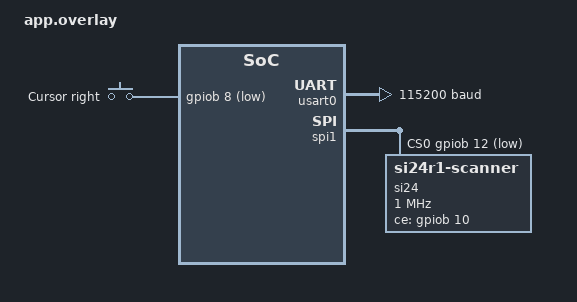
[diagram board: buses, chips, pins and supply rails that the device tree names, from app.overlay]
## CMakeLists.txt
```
cmake_minimum_required(VERSION 3.20.0)

find_package(Zephyr REQUIRED HINTS $ENV{ZEPHYR_BASE})
project(nrf_noise_measure)

target_sources(app PRIVATE src/main.c src/si24r1.c src/spectrum.c
    src/spectrum_display.c src/button_filter.c)
```

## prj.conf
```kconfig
# Hardware UART console (PB6/PB7 remap in app.overlay) and board ST7735 display.
CONFIG_GPIO=y
CONFIG_SPI=y
CONFIG_DISPLAY=y
CONFIG_SERIAL=y
CONFIG_CONSOLE=y
CONFIG_UART_CONSOLE=y
CONFIG_PRINTK=y
CONFIG_LOG=y
CONFIG_LOG_BACKEND_UART=y
CONFIG_LOG_MODE_IMMEDIATE=y
CONFIG_LOG_DEFAULT_LEVEL=3
CONFIG_LOG_BACKEND_SHOW_COLOR=n

# Four LCD rows at a time; no framebuffer or graphics framework required.
CONFIG_MAIN_STACK_SIZE=2048
CONFIG_HEAP_MEM_POOL_SIZE=0
CONFIG_ASSERT=y
CONFIG_SIZE_OPTIMIZATIONS=y
```

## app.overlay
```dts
/* SPDX-License-Identifier: Apache-2.0 */
#include <zephyr/dt-bindings/gpio/gpio.h>

/ {
	aliases {
		scan-button = &cursor_button;
	};
	scanner_buttons {
		compatible = "gpio-keys";
		cursor_button: cursor_button {
			gpios = <&gpiob 8 (GPIO_ACTIVE_LOW | GPIO_PULL_UP)>;
			label = "Cursor right";
		};
	};
};

/* Route the hardware console to side-header pins instead of PA9/PA10. */
&usart0 {
	current-speed = <115200>;
	pinctrl-0 = <&console_uart0_remap>;
	pinctrl-names = "default";
};

/* SPI1 is also wired to the SD slot. Remove the microSD card for this build. */
&sdhc0 {
	status = "disabled";
};

/* CSN is controlled as a GPIO by the SPI API, not hardware NSS. */
&pinctrl {
	console_uart0_remap: console_uart0_remap {
		group1 {
			pinmux = <USART0_TX_PB6_RMP>, <USART0_RX_PB7_RMP>;
		};
	};

	si24_spi1_default: si24_spi1_default {
		group1 {
			pinmux = <SPI1_MISO_PB14_INP>, <SPI1_SCK_PB13_OUT>,
				 <SPI1_MOSI_PB15_OUT>;
		};
	};
};

&spi1 {
	status = "okay";
	pinctrl-0 = <&si24_spi1_default>;
	cs-gpios = <&gpiob 12 GPIO_ACTIVE_LOW>;

	si24: radio@0 {
		/* Application-local binding; not an upstream Zephyr radio driver. */
		compatible = "zephyr,si24r1-scanner";
		reg = <0>;
		status = "okay";
		spi-max-frequency = <1000000>;
		ce-gpios = <&gpiob 10 GPIO_ACTIVE_HIGH>;
	};
};
```

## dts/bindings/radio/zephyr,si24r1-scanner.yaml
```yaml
# SPDX-License-Identifier: Apache-2.0
description: Application-local SI24R1 receive-only energy detector
compatible: "zephyr,si24r1-scanner"
include: spi-device.yaml
properties:
  ce-gpios:
    type: phandle-array
    required: true
    description: Active-high receiver enable pin
```

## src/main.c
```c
/* SPDX-License-Identifier: Apache-2.0 */
#include <zephyr/device.h>
#include <zephyr/devicetree.h>
#include <zephyr/drivers/gpio.h>
#include <zephyr/kernel.h>
#include <zephyr/logging/log.h>
#include "button_filter.h"
#include "si24r1.h"
#include "spectrum.h"
#include "spectrum_display.h"

LOG_MODULE_REGISTER(scanner, LOG_LEVEL_INF);
#define RADIO_NODE DT_NODELABEL(si24)
#define FRAME_INTERVAL_MS 100U
#define SCAN_BATCH 4U
BUILD_ASSERT(SPECTRUM_CHANNELS - 1U <= SI24R1_MAX_CHANNEL,
	     "Scan range exceeds the radio's supported channels");

static struct si24r1 radio = {
	.spi = SPI_DT_SPEC_GET(RADIO_NODE, SPI_WORD_SET(8) | SPI_TRANSFER_MSB, 0),
	.ce = GPIO_DT_SPEC_GET(RADIO_NODE, ce_gpios),
};
static const struct gpio_dt_spec led = GPIO_DT_SPEC_GET(DT_ALIAS(led0), gpios);
static const struct gpio_dt_spec key = GPIO_DT_SPEC_GET(DT_ALIAS(scan_button), gpios);
static const struct device *const panel = DEVICE_DT_GET(DT_CHOSEN(zephyr_display));
static struct spectrum spectrum;
static struct button_filter key_filter;

int main(void)
{
	bool led_ok = gpio_is_ready_dt(&led);
	bool button_ok = gpio_is_ready_dt(&key);
	bool led_on = false;
	unsigned int channel = 0;
	unsigned int sweep_start = 0;
	uint32_t sweeps = 0;
	uint32_t frames = 0;
	uint32_t last_frame;
	uint32_t last_led;
	uint32_t last_log;
	int ret;

	printk("\nSI24 2.4 GHz activity scanner | Zephyr 4.2.0\n");
	LOG_INF("Console: USART0 TX=PB6 RX=PB7, 115200 8N1; button=PB8 to GND");
	spectrum_init(&spectrum);
	if (led_ok) {
		led_ok = gpio_pin_configure_dt(&led, GPIO_OUTPUT_INACTIVE) == 0;
	}
	if (button_ok) {
		button_ok = gpio_pin_configure_dt(&key, GPIO_INPUT) == 0;
	}
	if (button_ok) {
		ret = gpio_pin_get_dt(&key);
		button_ok = ret >= 0;
		if (button_ok) {
			button_filter_init(&key_filter, ret != 0, k_uptime_get_32());
		}
	}
	if (!button_ok) {
		LOG_ERR("Button GPIO init failed; scanning will continue");
	}
	int radio_error = si24r1_init(&radio);
	if (radio_error) {
		LOG_ERR("SI24 init failed: %d; check power/wiring and remove SD card", radio_error);
	} else {
		LOG_INF("Scanning %u..%u MHz (%u channels), %u windows/bin, %u us/window",
			SPECTRUM_FIRST_MHZ, SPECTRUM_LAST_MHZ, SPECTRUM_CHANNELS,
			SPECTRUM_WINDOW_SAMPLES, SI24R1_MIN_WINDOW_US);
	}
	ret = spectrum_display_init(panel);
	bool display_ok = ret == 0;
	if (!display_ok) {
		LOG_ERR("LCD init failed: %d", ret);
	}
	last_frame = last_led = last_log = k_uptime_get_32();
	if (display_ok) {
		spectrum_display_begin(&spectrum, radio_error, button_ok);
	}

	while (true) {
		uint32_t now = k_uptime_get_32();
		if (button_ok) {
			ret = gpio_pin_get_dt(&key);
			if (ret < 0) {
				LOG_ERR("Button GPIO read failed: %d", ret);
				button_ok = false;
			} else if (button_filter_update(&key_filter, ret != 0, now)) {
				spectrum_cursor_right(&spectrum);
				LOG_INF("Cursor: %u MHz", SPECTRUM_FIRST_MHZ + spectrum.cursor);
			}
		}
		if (!radio_error) {
			for (unsigned int i = 0; i < SCAN_BATCH; ++i) {
				bool hit;
				radio_error = si24r1_sample(&radio, (uint8_t)channel,
					SI24R1_MIN_WINDOW_US, &hit);
				if (radio_error) {
					LOG_ERR("Sample ch%u failed: %d", channel, radio_error);
					break;
				}
				spectrum_record(&spectrum, channel, hit);
				channel = (channel + 1U) % SPECTRUM_CHANNELS;
				if (channel == sweep_start) {
					sweeps++;
					/* Rotate start to reduce alignment with periodic signals. */
					sweep_start = (sweep_start + 1U) % SPECTRUM_CHANNELS;
					channel = sweep_start;
				}
			}
		}
		now = k_uptime_get_32();
		if ((uint32_t)(now - last_frame) >= FRAME_INTERVAL_MS &&
		    (!display_ok || !spectrum_display_busy())) {
			if (!radio_error) {
				spectrum_animate(&spectrum, now, now - last_frame);
			}
			last_frame = now;
			if (display_ok) {
				spectrum_display_begin(&spectrum, radio_error, button_ok);
			}
		}
		if (display_ok && spectrum_display_busy()) {
			ret = spectrum_display_step();
			if (ret < 0) {
				LOG_ERR("LCD write failed: %d", ret);
				display_ok = false;
			} else if (!spectrum_display_busy()) {
				frames++;
			}
		}
		if ((uint32_t)(now - last_led) >= 500U) {
			last_led = now;
			led_on = !led_on;
			if (led_ok) {
				led_ok = gpio_pin_set_dt(&led, led_on) == 0;
			}
		}
		if ((uint32_t)(now - last_log) >= 1000U) {
			uint32_t interval = now - last_log;
			last_log = now;
			if (!radio_error) {
				struct si24r1_snapshot snapshot;
				radio_error = si24r1_get_snapshot(&radio, &snapshot);
				if (radio_error) {
					LOG_ERR("SI24 health check failed: %d", radio_error);
				}
			}
			LOG_INF("%uMHz hits=%u/%u valid=%u activity=%u%% peak=%u%% "
				"sweeps/s=%u fps=%u err=%d LCD=%s KEY=%s",
				SPECTRUM_FIRST_MHZ + spectrum.cursor,
				spectrum.hits[spectrum.cursor], spectrum.samples[spectrum.cursor],
				spectrum_is_valid(&spectrum, spectrum.cursor),
				spectrum_percent(&spectrum, spectrum.cursor),
				spectrum.peak[spectrum.cursor] / SPECTRUM_ONE_PERCENT,
				sweeps * 1000U / interval, frames * 1000U / interval,
				radio_error, display_ok ? "ok" : "error", button_ok ? "ok" : "error");
			sweeps = frames = 0;
		}
		k_sleep(K_MSEC(1));
	}
	return 0;
}
```

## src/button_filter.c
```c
/* SPDX-License-Identifier: Apache-2.0 */
#include "button_filter.h"
void button_filter_init(struct button_filter *b, bool pressed, uint32_t now_ms)
{
	b->candidate = pressed;
	b->stable = pressed;
	b->armed = !pressed;
	b->repeat_enabled = false;
	b->changed_ms = now_ms;
	b->next_repeat_ms = now_ms;
}
bool button_filter_update(struct button_filter *b, bool pressed, uint32_t now_ms)
{
	if (pressed != b->candidate) {
		b->candidate = pressed;
		b->changed_ms = now_ms;
	}
	if (b->candidate != b->stable) {
		if ((uint32_t)(now_ms - b->changed_ms) < BUTTON_DEBOUNCE_MS) {
			return false;
		}
		b->stable = b->candidate;
		if (!b->stable) {
			b->armed = true;
			b->repeat_enabled = false;
			return false;
		}
		if (b->armed) {
			b->armed = false;
			b->repeat_enabled = true;
			b->next_repeat_ms = now_ms + BUTTON_REPEAT_DELAY_MS;
			return true;
		}
	}
	/* Suppress repeats immediately on release, even before release debounce.
	 * A held key at boot never enables repeating until released and pressed.
	 */
	if (pressed && b->stable && b->repeat_enabled &&
	    (int32_t)(now_ms - b->next_repeat_ms) >= 0) {
		/* No catch-up burst if scanning or rendering delayed a poll. */
		b->next_repeat_ms = now_ms + BUTTON_REPEAT_INTERVAL_MS;
		return true;
	}
	return false;
}
```

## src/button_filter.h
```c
/* SPDX-License-Identifier: Apache-2.0 */
#ifndef APP_BUTTON_FILTER_H_
#define APP_BUTTON_FILTER_H_
#include <stdbool.h>
#include <stdint.h>
#define BUTTON_DEBOUNCE_MS 30U
#define BUTTON_REPEAT_DELAY_MS 500U
#define BUTTON_REPEAT_INTERVAL_MS 100U
struct button_filter {
	bool candidate;
	bool stable;
	bool armed;
	bool repeat_enabled;
	uint32_t changed_ms;
	uint32_t next_repeat_ms;
};
void button_filter_init(struct button_filter *b, bool pressed, uint32_t now_ms);
bool button_filter_update(struct button_filter *b, bool pressed, uint32_t now_ms);
#endif
```

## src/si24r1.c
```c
/* SPDX-License-Identifier: Apache-2.0 */
#include "si24r1.h"

#include <errno.h>
#include <stddef.h>
#include <zephyr/kernel.h>
#include <zephyr/logging/log.h>
#include <zephyr/sys/util.h>

LOG_MODULE_REGISTER(si24r1, LOG_LEVEL_INF);

#define REG_CONFIG       0x00
#define REG_EN_AA        0x01
#define REG_EN_RXADDR    0x02
#define REG_SETUP_AW     0x03
#define REG_SETUP_RETR   0x04
#define REG_RF_CH        0x05
#define REG_RF_SETUP     0x06
#define REG_STATUS       0x07
#define REG_DETECT       0x09

#define CMD_WRITE_REG    0x20
#define CMD_FLUSH_TX     0xe1
#define CMD_FLUSH_RX     0xe2
#define CMD_NOP          0xff

/* Mask IRQs, enable two-byte CRC, select RX; PWR_UP is added separately. */
#define CONFIG_RX_OFF    0x7d
#define CONFIG_PWR_UP    BIT(1)
#define CONFIG_RX_ON     (CONFIG_RX_OFF | CONFIG_PWR_UP)
#define RF_SETUP_2MBPS   BIT(3)

static int transfer(struct si24r1 *radio, const uint8_t *tx, uint8_t *rx, size_t len)
{
	const struct spi_buf tx_buf = {.buf = (void *)tx, .len = len};
	const struct spi_buf rx_buf = {.buf = rx, .len = len};
	const struct spi_buf_set tx_set = {.buffers = &tx_buf, .count = 1};
	const struct spi_buf_set rx_set = {.buffers = &rx_buf, .count = 1};

	/* One transaction keeps CSN low for command AND data. */
	return spi_transceive_dt(&radio->spi, &tx_set, &rx_set);
}

static int read_reg(struct si24r1 *radio, uint8_t reg, uint8_t *value)
{
	const uint8_t tx[] = {reg & 0x1fU, CMD_NOP};
	uint8_t rx[2];
	int ret = transfer(radio, tx, rx, sizeof(tx));

	if (ret == 0) {
		*value = rx[1];
	}
	return ret;
}

static int command(struct si24r1 *radio, uint8_t cmd)
{
	uint8_t rx;

	return transfer(radio, &cmd, &rx, 1);
}

static int write_reg(struct si24r1 *radio, uint8_t reg, uint8_t value)
{
	const uint8_t tx[] = {CMD_WRITE_REG | (reg & 0x1fU), value};
	uint8_t rx[2];

	return transfer(radio, tx, rx, sizeof(tx));
}

static int write_checked(struct si24r1 *radio, uint8_t reg, uint8_t value)
{
	uint8_t actual;
	int ret = write_reg(radio, reg, value);

	if (ret == 0) {
		ret = read_reg(radio, reg, &actual);
	}
	if (ret == 0 && actual != value) {
		LOG_ERR("Register 0x%02x: wrote 0x%02x, read 0x%02x",
			reg, value, actual);
		return -EIO;
	}
	return ret;
}

int si24r1_init(struct si24r1 *radio)
{
	uint8_t original_channel;
	uint8_t status;
	int ret;
	const struct {
		uint8_t reg;
		uint8_t value;
	} settings[] = {
		{REG_CONFIG, CONFIG_RX_OFF},
		{REG_EN_AA, 0x00},        /* Never transmit automatic acknowledgments. */
		{REG_EN_RXADDR, 0x00},    /* No packet matching/FIFO traffic needed. */
		{REG_SETUP_AW, 0x03},
		{REG_SETUP_RETR, 0x00},
		{REG_RF_SETUP, RF_SETUP_2MBPS},
		{REG_RF_CH, 12},
	};

	if (radio == NULL) {
		return -EINVAL;
	}
	radio->ready = false;
	if (!gpio_is_ready_dt(&radio->ce)) {
		return -ENODEV;
	}
	ret = gpio_pin_configure_dt(&radio->ce, GPIO_OUTPUT_INACTIVE);
	if (ret < 0) {
		return ret;
	}
	if (!spi_is_ready_dt(&radio->spi)) {
		return -ENODEV;
	}
	k_msleep(5);
	ret = read_reg(radio, REG_STATUS, &status);
	if (ret < 0) {
		return ret;
	}
	LOG_INF("Probe STATUS=0x%02x (not a chip ID)", status);
	if (status == 0xff || status == 0x00) {
		return -ENODEV;
	}
	/* CE remains low throughout probing, even if a previous MCU run left
	 * the radio powered up. Restore the channel after the two-pattern test.
	 */
	ret = read_reg(radio, REG_RF_CH, &original_channel);
	if (ret < 0) {
		return ret;
	}
	ret = write_checked(radio, REG_RF_CH, 0x2a);
	if (ret == 0) {
		ret = write_checked(radio, REG_RF_CH, 0x55);
	}
	int restore_ret = write_reg(radio, REG_RF_CH, original_channel);

	if (ret < 0 || restore_ret < 0) {
		return ret < 0 ? ret : restore_ret;
	}
	for (size_t i = 0; i < ARRAY_SIZE(settings); ++i) {
		ret = write_checked(radio, settings[i].reg, settings[i].value);
		if (ret < 0) {
			goto fail;
		}
	}
	ret = command(radio, CMD_FLUSH_RX);
	if (ret == 0) {
		ret = command(radio, CMD_FLUSH_TX);
	}
	if (ret == 0) {
		ret = write_reg(radio, REG_STATUS, 0x70); /* Clear pending IRQ flags. */
	}
	if (ret == 0) {
		ret = write_checked(radio, REG_CONFIG, CONFIG_RX_ON);
	}
	if (ret < 0) {
		goto fail;
	}
	k_msleep(5);
	radio->ready = true;
	LOG_INF("Register self-test passed; RX only, ACK off, SPI %u Hz",
		radio->spi.config.frequency);
	return 0;

fail:
	(void)gpio_pin_set_dt(&radio->ce, 0);
	(void)write_reg(radio, REG_CONFIG, CONFIG_RX_OFF);
	return ret;
}

int si24r1_sample(struct si24r1 *radio, uint8_t channel, uint32_t window_us,
		 bool *detected)
{
	uint8_t value;
	int ret;

	if (radio == NULL || detected == NULL || channel > SI24R1_MAX_CHANNEL ||
	    window_us < SI24R1_MIN_WINDOW_US || window_us > SI24R1_MAX_WINDOW_US) {
		return -EINVAL;
	}
	if (!radio->ready) {
		return -EACCES;
	}
	ret = gpio_pin_set_dt(&radio->ce, 0);
	if (ret < 0) {
		goto fail;
	}
	k_busy_wait(5);
	ret = write_checked(radio, REG_RF_CH, channel);
	if (ret < 0) {
		goto fail;
	}
	ret = gpio_pin_set_dt(&radio->ce, 1);
	if (ret < 0) {
		goto fail;
	}
	/* New CE rising edge starts a new detection window; do not repeatedly
	 * count the same latched bit as independent observations.
	 */
	k_busy_wait(window_us);
	ret = gpio_pin_set_dt(&radio->ce, 0);
	if (ret < 0) {
		goto fail;
	}
	ret = read_reg(radio, REG_DETECT, &value);
	if (ret < 0) {
		goto fail;
	}
	if (value & ~BIT(0)) {
		ret = -EIO; /* Detect e.g. a disconnected MISO reading 0xff. */
		goto fail;
	}
	*detected = (value & BIT(0)) != 0;
	return 0;

fail:
	(void)gpio_pin_set_dt(&radio->ce, 0);
	radio->ready = false;
	return ret;
}

int si24r1_get_snapshot(struct si24r1 *radio, struct si24r1_snapshot *snapshot)
{
	struct si24r1_snapshot result;
	int ret;

	if (radio == NULL || snapshot == NULL) {
		return -EINVAL;
	}
	if (!radio->ready) {
		return -EACCES;
	}
	uint8_t *const outputs[] = {&result.status, &result.config, &result.en_aa,
		&result.en_rxaddr, &result.rf_setup, &result.channel};
	const uint8_t regs[] = {REG_STATUS, REG_CONFIG, REG_EN_AA,
		REG_EN_RXADDR, REG_RF_SETUP, REG_RF_CH};

	for (size_t i = 0; i < ARRAY_SIZE(regs); ++i) {
		ret = read_reg(radio, regs[i], outputs[i]);
		if (ret < 0) {
			return ret;
		}
	}
	/* A successful SPI transfer alone does not prove that the chip replied. */
	if (result.status == 0xff || result.config != CONFIG_RX_ON ||
	    result.en_aa != 0 || result.en_rxaddr != 0 ||
	    result.rf_setup != RF_SETUP_2MBPS || result.channel > SI24R1_MAX_CHANNEL) {
		return -EIO;
	}
	*snapshot = result;
	return 0;
}

int si24r1_power_down(struct si24r1 *radio)
{
	if (radio == NULL) {
		return -EINVAL;
	}
	if (!radio->ready) {
		return -EACCES;
	}
	int ce_ret = gpio_pin_set_dt(&radio->ce, 0);
	int ret = write_reg(radio, REG_CONFIG, CONFIG_RX_OFF);

	radio->ready = false;
	return ce_ret < 0 ? ce_ret : ret;
}
```

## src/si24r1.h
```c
/* SPDX-License-Identifier: Apache-2.0 */
#ifndef APP_SI24R1_H_
#define APP_SI24R1_H_

#include <stdbool.h>
#include <stdint.h>
#include <zephyr/drivers/gpio.h>
#include <zephyr/drivers/spi.h>

#define SI24R1_MAX_CHANNEL 125U
#define SI24R1_MIN_WINDOW_US 200U
#define SI24R1_MAX_WINDOW_US 5000U

/* Single-owner synchronous driver. Serialize externally before using in threads.
 * Not an upstream Zephyr networking device; no packet TX/RX API is implemented.
 */
struct si24r1 {
	struct spi_dt_spec spi;
	struct gpio_dt_spec ce;
	bool ready;
};

struct si24r1_snapshot {
	uint8_t status;
	uint8_t config;
	uint8_t en_aa;
	uint8_t en_rxaddr;
	uint8_t rf_setup;
	uint8_t channel;
};

/* Forces CE low, verifies writable registers, disables ACK and packet pipes,
 * then powers up in RX standby. On failure the caller must not sample.
 * This probes register compatibility, not a unique manufacturer/chip ID.
 */
int si24r1_init(struct si24r1 *radio);

/* One independent detection window. Frequency = 2400 + channel (MHz).
 * window_us includes RX settling; must be 200..5000 us.
 * On success CE is low and *detected contains register 0x09 bit 0.
 * On errors *detected is unchanged; attempt to leave CE low.
 */
int si24r1_sample(struct si24r1 *radio, uint8_t channel, uint32_t window_us,
		 bool *detected);
int si24r1_get_snapshot(struct si24r1 *radio, struct si24r1_snapshot *snapshot);
int si24r1_power_down(struct si24r1 *radio);

#endif
```

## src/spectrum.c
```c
/* SPDX-License-Identifier: Apache-2.0 */
#include "spectrum.h"
#include <string.h>
static uint16_t smaller(uint32_t a, uint32_t b)
{
	return (uint16_t)(a < b ? a : b);
}
void spectrum_init(struct spectrum *s)
{
	memset(s, 0, sizeof(*s));
	s->cursor = 12;
}
void spectrum_record(struct spectrum *s, unsigned int channel, bool hit)
{
	if (channel >= SPECTRUM_CHANNELS) {
		return;
	}
	if (s->samples[channel] == SPECTRUM_WINDOW_SAMPLES) {
		s->hits[channel] -= (s->history[channel] >> 15) & 1U;
	} else {
		s->samples[channel]++;
	}
	s->history[channel] = (uint16_t)((s->history[channel] << 1) | (hit ? 1U : 0U));
	s->hits[channel] += hit ? 1U : 0U;
}
bool spectrum_is_valid(const struct spectrum *s, unsigned int channel)
{
	return channel < SPECTRUM_CHANNELS &&
	       s->samples[channel] == SPECTRUM_WINDOW_SAMPLES;
}
unsigned int spectrum_percent(const struct spectrum *s, unsigned int channel)
{
	return spectrum_is_valid(s, channel) ?
	       (s->hits[channel] * 100U + SPECTRUM_WINDOW_SAMPLES / 2U) /
	       SPECTRUM_WINDOW_SAMPLES : 0;
}
void spectrum_animate(struct spectrum *s, uint32_t now_ms, uint32_t elapsed_ms)
{
	/* Fixed-point percent, independent of LCD refresh rate. */
	uint32_t dt = elapsed_ms > 200U ? 200U : elapsed_ms;
	uint32_t attack = 400U * SPECTRUM_ONE_PERCENT * dt / 1000U;
	uint32_t release = 120U * SPECTRUM_ONE_PERCENT * dt / 1000U;
	uint32_t fall = 25U * SPECTRUM_ONE_PERCENT * dt / 1000U;
	for (unsigned int c = 0; c < SPECTRUM_CHANNELS; ++c) {
		if (!spectrum_is_valid(s, c)) {
			continue;
		}
		uint32_t target = (uint32_t)s->hits[c] * SPECTRUM_FULL_SCALE /
				  SPECTRUM_WINDOW_SAMPLES;
		if (target > s->level[c]) {
			s->level[c] += smaller(target - s->level[c], attack);
		} else {
			s->level[c] -= smaller(s->level[c] - target, release);
		}
		uint16_t reference = target > s->level[c] ? (uint16_t)target : s->level[c];
		if (reference > 0 && reference >= s->peak[c]) {
			s->peak[c] = reference;
			s->peak_until[c] = now_ms + SPECTRUM_PEAK_HOLD_MS;
		} else if ((int32_t)(now_ms - s->peak_until[c]) >= 0) {
			s->peak[c] -= smaller(s->peak[c], fall);
			if (s->peak[c] < reference) {
				s->peak[c] = reference;
			}
		}
	}
}
void spectrum_cursor_right(struct spectrum *s)
{
	s->cursor = (uint8_t)((s->cursor + 1U) % SPECTRUM_CHANNELS);
}
```

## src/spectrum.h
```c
/* SPDX-License-Identifier: Apache-2.0 */
#ifndef APP_SPECTRUM_H_
#define APP_SPECTRUM_H_
#include <stdbool.h>
#include <stdint.h>
#define SPECTRUM_FIRST_MHZ 2400U
#define SPECTRUM_CHANNELS 126U
#define SPECTRUM_LAST_MHZ (SPECTRUM_FIRST_MHZ + SPECTRUM_CHANNELS - 1U)
#define SPECTRUM_WINDOW_SAMPLES 16U
#define SPECTRUM_ONE_PERCENT 256U
#define SPECTRUM_FULL_SCALE (100U * SPECTRUM_ONE_PERCENT)
#define SPECTRUM_PEAK_HOLD_MS 1000U
struct spectrum {
	uint16_t history[SPECTRUM_CHANNELS];
	uint8_t hits[SPECTRUM_CHANNELS];
	uint8_t samples[SPECTRUM_CHANNELS];
	uint16_t level[SPECTRUM_CHANNELS];
	uint16_t peak[SPECTRUM_CHANNELS];
	uint32_t peak_until[SPECTRUM_CHANNELS];
	uint8_t cursor;
};
void spectrum_init(struct spectrum *s);
void spectrum_record(struct spectrum *s, unsigned int channel, bool hit);
bool spectrum_is_valid(const struct spectrum *s, unsigned int channel);
unsigned int spectrum_percent(const struct spectrum *s, unsigned int channel);
void spectrum_animate(struct spectrum *s, uint32_t now_ms, uint32_t elapsed_ms);
void spectrum_cursor_right(struct spectrum *s);
#endif
```

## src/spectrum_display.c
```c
/* SPDX-License-Identifier: Apache-2.0 */
#include "spectrum_display.h"
#include <errno.h>
#include <stdio.h>
#include <zephyr/drivers/display.h>
#include <zephyr/sys/byteorder.h>
#include <zephyr/sys/util.h>
#define WIDTH 160U
#define HEIGHT 80U
#define TILE_ROWS 4U
#define LEFT 20U
#define RIGHT 157U
#define PLOT_WIDTH (RIGHT - LEFT + 1U)
#define MID_CHANNEL ((SPECTRUM_CHANNELS / 2U) / 10U * 10U)
#define MID_X (LEFT + (MID_CHANNEL * PLOT_WIDTH + SPECTRUM_CHANNELS - 1U) / SPECTRUM_CHANNELS)
BUILD_ASSERT(SPECTRUM_CHANNELS <= PLOT_WIDTH, "Need at least one pixel per channel");
#define TOP 20U
#define BASE 66U
#define PLOT_HEIGHT (BASE - TOP)
#define BLACK 0x0000
#define WHITE 0xffff
#define GREEN 0x07e0
#define YELLOW 0xffe0
#define RED 0xf800
#define GRID 0x18c3
#define GRAY 0x7bef
/* Application-owned 5x7 font; each byte is a row, low five bits used. */
static const char alphabet[] = "0123456789%ACEHIKLMNOPRSTUVWXYZ -";
static const uint8_t glyphs[][7] = {
	{14,17,19,21,25,17,14}, {4,12,4,4,4,4,14},
	{14,17,1,2,4,8,31}, {30,1,1,14,1,1,30},
	{2,6,10,18,31,2,2}, {31,16,16,30,1,1,30},
	{14,16,16,30,17,17,14}, {31,1,2,4,8,8,8},
	{14,17,17,14,17,17,14}, {14,17,17,15,1,1,14},
	{17,18,2,4,8,9,17}, /* % */
	{14,17,17,31,17,17,17}, /* A */
	{14,17,16,16,16,17,14}, /* C */
	{31,16,16,30,16,16,31}, /* E */
	{17,17,17,31,17,17,17}, /* H */
	{14,4,4,4,4,4,14}, /* I */
	{17,18,20,24,20,18,17}, /* K */
	{16,16,16,16,16,16,31}, /* L */
	{17,27,21,21,17,17,17}, /* M */
	{17,25,25,21,19,19,17}, /* N */
	{14,17,17,17,17,17,14}, /* O */
	{30,17,17,30,16,16,16}, /* P */
	{30,17,17,30,20,18,17}, /* R */
	{15,16,16,14,1,1,30}, /* S */
	{31,4,4,4,4,4,4}, /* T */
	{17,17,17,17,17,17,14}, /* U */
	{17,17,17,17,17,10,4}, /* V */
	{17,17,17,21,21,27,17}, /* W */
	{17,17,10,4,10,17,17}, /* X */
	{17,17,10,4,4,4,4}, /* Y */
	{31,1,2,4,8,16,31}, /* Z */
	{0,0,0,0,0,0,0}, /* space */
	{0,0,0,31,0,0,0}, /* - */
};
BUILD_ASSERT(ARRAY_SIZE(glyphs) == sizeof(alphabet) - 1);
static const struct device *lcd;
static bool bgr;
static bool active;
static uint16_t next_y;
static uint8_t tile[WIDTH * TILE_ROWS * 2U];
static struct {
	uint8_t heights[SPECTRUM_CHANNELS];
	uint8_t peaks[SPECTRUM_CHANNELS];
	uint16_t cursor_x;
	int radio_error;
	bool button_ok;
	bool warmup;
	char header[28];
	char axis_first[6];
	char axis_mid[6];
	char axis_last[6];
} view;
static void pixel(unsigned int row, unsigned int x, uint16_t color)
{
	if (bgr) {
		color = ((color & 0x001fU) << 11) | (color & 0x07e0U) |
			((color & 0xf800U) >> 11);
	}
	sys_put_be16(color, &tile[(row * WIDTH + x) * 2U]);
}
static const uint8_t *glyph(char ch)
{
	for (size_t i = 0; i < sizeof(alphabet) - 1U; ++i) {
		if (alphabet[i] == ch) {
			return glyphs[i];
		}
	}
	return glyphs[sizeof(alphabet) - 3U]; /* space */
}
static void text_row(unsigned int row, unsigned int y, unsigned int x0,
		     unsigned int y0, const char *text, uint16_t color)
{
	if (y < y0 || y >= y0 + 7U) {
		return;
	}
	for (unsigned int i = 0; text[i] != '\0'; ++i) {
		unsigned int x = x0 + i * 6U;
		if (x >= WIDTH) {
			break;
		}
		uint8_t bits = glyph(text[i])[y - y0];
		for (unsigned int bit = 0; bit < 5U && x + bit < WIDTH; ++bit) {
			if (bits & (1U << (4U - bit))) {
				pixel(row, x + bit, color);
			}
		}
	}
}
static void draw_row(unsigned int row, unsigned int y)
{
	for (unsigned int x = 0; x < WIDTH; ++x) {
		uint16_t color = BLACK;
		if (x >= LEFT && x <= RIGHT && y >= TOP && y < BASE) {
			unsigned int c = (x - LEFT) * SPECTRUM_CHANNELS / PLOT_WIDTH;
			if (y == TOP || y == TOP + PLOT_HEIGHT / 2U ||
			    x == LEFT ||
			    x == MID_X || x == RIGHT) {
				color = GRID;
			}
			if (BASE - y <= view.heights[c]) {
				color = GREEN;
			}
			if (view.peaks[c] > 0 && BASE - y == view.peaks[c]) {
				color = YELLOW;
			}
			if (x == view.cursor_x && (y - TOP) % 3U == 0) {
				color = WHITE;
			}
		}
		if ((y == BASE && x >= LEFT && x <= RIGHT) ||
		    (x == LEFT - 1U && y >= TOP && y <= BASE)) {
			color = GRAY;
		}
		if (y > BASE && y <= BASE + 3U) {
			unsigned int radius = y - BASE - 1U;
			if (x + radius >= view.cursor_x && x <= view.cursor_x + radius) {
				color = WHITE;
			}
		}
		if (x >= 153U && x < 158U && y >= 1U && y < 6U) {
			color = view.radio_error ? RED : GREEN;
		}
		pixel(row, x, color);
	}
	text_row(row, y, 1, 0, view.header, view.radio_error ? RED : WHITE);
	text_row(row, y, LEFT, 10, "LIVE", GREEN);
	text_row(row, y, 53, 10, "PEAK", YELLOW);
	text_row(row, y, 91, 10, !view.button_ok ? "KEY ERR" :
		 view.warmup ? "WARMUP" : "ACT %", GRAY);
	text_row(row, y, 0, 17, "100", GRAY);
	text_row(row, y, 6, 40, "50", GRAY);
	text_row(row, y, 12, 63, "0", GRAY);
	text_row(row, y, LEFT, 73, view.axis_first, GRAY);
	text_row(row, y, MID_X - 11U, 73, view.axis_mid, GRAY);
	text_row(row, y, 134, 73, view.axis_last, GRAY);
}
int spectrum_display_init(const struct device *panel)
{
	struct display_capabilities caps = {0};
	if (!device_is_ready(panel)) {
		return -ENODEV;
	}
	display_get_capabilities(panel, &caps);
	if (caps.x_resolution != WIDTH || caps.y_resolution != HEIGHT ||
	    (caps.current_pixel_format != PIXEL_FORMAT_RGB_565 &&
	     caps.current_pixel_format != PIXEL_FORMAT_BGR_565)) {
		return -ENOTSUP;
	}
	lcd = panel;
	snprintf(view.axis_first, sizeof(view.axis_first), "%u", SPECTRUM_FIRST_MHZ);
	snprintf(view.axis_mid, sizeof(view.axis_mid), "%u", SPECTRUM_FIRST_MHZ + MID_CHANNEL);
	snprintf(view.axis_last, sizeof(view.axis_last), "%u", SPECTRUM_LAST_MHZ);
	bgr = caps.current_pixel_format == PIXEL_FORMAT_BGR_565;
	active = false;
	return display_blanking_off(panel);
}
void spectrum_display_begin(const struct spectrum *s, int radio_error, bool button_ok)
{
	view.radio_error = radio_error;
	view.button_ok = button_ok;
	view.warmup = false;
	for (unsigned int c = 0; c < SPECTRUM_CHANNELS; ++c) {
		view.heights[c] = (uint8_t)((s->level[c] * PLOT_HEIGHT +
			SPECTRUM_FULL_SCALE - 1U) / SPECTRUM_FULL_SCALE);
		view.peaks[c] = (uint8_t)((s->peak[c] * PLOT_HEIGHT +
			SPECTRUM_FULL_SCALE - 1U) / SPECTRUM_FULL_SCALE);
		view.warmup |= !spectrum_is_valid(s, c);
	}
	unsigned int x0 = (s->cursor * PLOT_WIDTH + SPECTRUM_CHANNELS - 1U) /
			  SPECTRUM_CHANNELS;
	unsigned int x1 = ((s->cursor + 1U) * PLOT_WIDTH + SPECTRUM_CHANNELS - 1U) /
			  SPECTRUM_CHANNELS;
	view.cursor_x = LEFT + (x0 + x1 - 1U) / 2U;
	if (radio_error) {
		snprintf(view.header, sizeof(view.header), "SI24 ERR %d", radio_error);
	} else if (!spectrum_is_valid(s, s->cursor)) {
		snprintf(view.header, sizeof(view.header), "%uMHZ --%% P--%%",
			 SPECTRUM_FIRST_MHZ + s->cursor);
	} else {
		snprintf(view.header, sizeof(view.header), "%uMHZ %u%% P%u%%",
			 SPECTRUM_FIRST_MHZ + s->cursor, spectrum_percent(s, s->cursor),
			 (s->peak[s->cursor] + SPECTRUM_ONE_PERCENT / 2U) /
			 SPECTRUM_ONE_PERCENT);
	}
	next_y = 0;
	active = true;
}
bool spectrum_display_busy(void)
{
	return active;
}
int spectrum_display_step(void)
{
	if (!active) {
		return 0;
	}
	unsigned int rows = MIN(TILE_ROWS, HEIGHT - next_y);
	for (unsigned int r = 0; r < rows; ++r) {
		draw_row(r, next_y + r);
	}
	const struct display_buffer_descriptor desc = {
		.buf_size = WIDTH * rows * 2U, .width = WIDTH,
		.height = rows, .pitch = WIDTH,
	};
	int ret = display_write(lcd, 0, next_y, &desc, tile);
	if (ret < 0) {
		active = false;
		return ret;
	}
	next_y += rows;
	active = next_y < HEIGHT;
	return 0;
}
```

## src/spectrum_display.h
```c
/* SPDX-License-Identifier: Apache-2.0 */
#ifndef APP_SPECTRUM_DISPLAY_H_
#define APP_SPECTRUM_DISPLAY_H_
#include "spectrum.h"
#include <zephyr/device.h>
int spectrum_display_init(const struct device *panel);
/* Snapshot the model for this frame, so later input cannot tear the cursor. */
void spectrum_display_begin(const struct spectrum *s, int radio_error, bool button_ok);
bool spectrum_display_busy(void);
/* Send at most four rows; scan and poll input between tiles. */
int spectrum_display_step(void);
#endif
```
